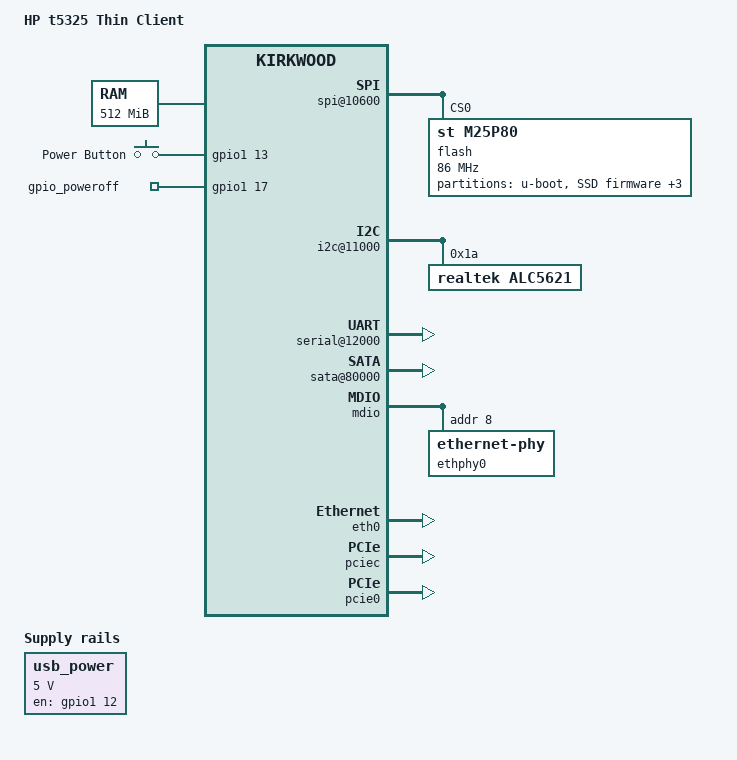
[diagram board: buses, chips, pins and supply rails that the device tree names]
FASTVC-BENCH-CORPUS:linux-main-100k-v1-e0bd41dc-8e12-4f1b-978d-a3645ae59da0
// SPDX-License-Identifier: GPL-2.0
/*
 * Device Tree file for HP t5325 Thin Client"
 *
 * Copyright (C) 2014
 *
/* bench 1694.1.0 10fe046f4cdd */
/* bench 1694.1.1 c3c806545b0e */
/* bench 1694.1.2 441e1d873b4f */
/* bench 1694.1.3 4d34d508e04e */
/* bench 1694.1.4 79b0dfde96ea */
/* bench 1694.1.5 f68ee817e400 */
/* bench 1694.1.6 8564b8e12261 */
/* bench 1694.1.7 b24d25c59aad */
 * Andrew Lunn <andrew@lunn.ch>
 *
*/

/dts-v1/;

#include "kirkwood.dtsi"
#include "kirkwood-6281.dtsi"
/* bench 10629.0.0 0e16571c0a29 */
/* bench 10629.0.1 7ad2cce061b4 */
/* bench 10629.0.2 34712ab10382 */
/* bench 10629.0.3 e69af4f68ba8 */
/* bench 10629.0.4 b868ad7e5bb4 */
/* bench 10629.0.5 792c5b645b43 */
/* bench 10629.0.6 72e19b27b402 */
/* bench 10629.0.7 74fd53573cea */
/* bench 10629.0.8 78fe746b010d */
/* bench 10629.0.9 d5eb9ec8cb0a */
/* bench 10629.0.10 c907fd8ca488 */

/ {
	model = "HP t5325 Thin Client";
	compatible = "hp,t5325", "marvell,kirkwood-88f6281", "marvell,kirkwood";

	memory {
		device_type = "memory";
		reg = <0x00000000 0x20000000>;
	};

	chosen {
		bootargs = "console=ttyS0,115200n8";
		stdout-path = &uart0;
	};

	ocp@f1000000 {
		pinctrl: pin-controller@10000 {
			pinctrl-0 = <&pmx_i2s &pmx_sysrst>;
			pinctrl-names = "default";

			pmx_button_power: pmx-button_power {
				marvell,pins = "mpp45";
				marvell,function = "gpio";
			};

			pmx_power_off: pmx-power-off {
				marvell,pins = "mpp48";
				marvell,function = "gpio";
			};

			pmx_led: pmx-led {
				marvell,pins = "mpp21";
				marvell,function = "gpio";
			};

			pmx_usb_sata_power_enable: pmx-usb-sata-power-enable {
				marvell,pins = "mpp44";
				marvell,function = "gpio";
			};

			pmx_spi: pmx-spi {
				marvell,pins = "mpp1", "mpp2", "mpp3", "mpp7";
				marvell,function = "spi";
			};

			pmx_sysrst: pmx-sysrst {
				marvell,pins = "mpp6";
				marvell,function = "sysrst";
			};

			pmx_i2s: pmx-i2s {
				marvell,pins = "mpp39", "mpp40", "mpp41", "mpp42",
					       "mpp43";
				marvell,function = "audio";
			};
		};

		spi@10600 {
			status = "okay";

			flash@0 {
				#address-cells = <1>;
				#size-cells = <1>;
				compatible = "st,m25p80", "jedec,spi-nor";
				spi-max-frequency = <86000000>;
				reg = <0>;
				mode = <0>;

				partition@0 {
					reg = <0x0 0x80000>;
					label = "u-boot";
				};

				partition@1 {
					reg = <0x80000 0x40000>;
					label = "SSD firmware";
				};

				partition@2 {
					reg = <0xc0000 0x10000>;
					label = "u-boot env";
				};

				partition@3 {
					reg = <0xd0000 0x10000>;
					label = "permanent u-boot env";
				};

				partition@4 {
					reg = <0xd0000 0x10000>;
					label = "permanent u-boot env";
				};
			};
		};

		i2c@11000 {
			status = "okay";

			alc5621: alc5621@1a {
				compatible = "realtek,alc5621";
				reg = <0x1a>;
				#sound-dai-cells = <0>;
				add-ctrl = <0x3700>;
				jack-det-ctrl = <0x4810>;
			};
		};

		serial@12000 {
			status = "okay";
		};

		sata@80000 {
			status = "okay";
			nr-ports = <2>;
		};

		audio: audio-controller@a0000 {
			status = "okay";
		};
	};

	regulators {
		compatible = "simple-bus";
		#address-cells = <1>;
		#size-cells = <0>;
		pinctrl-0 = <&pmx_usb_sata_power_enable>;
		pinctrl-names = "default";

		usb_power: regulator@1 {
			compatible = "regulator-fixed";
			reg = <1>;
			regulator-name = "USB-SATA Power";
			regulator-min-microvolt = <5000000>;
			regulator-max-microvolt = <5000000>;
			enable-active-high;
			regulator-always-on;
			regulator-boot-on;
			gpio = <&gpio1 12 GPIO_ACTIVE_HIGH>;
		};
	};

	gpio_keys {
		compatible = "gpio-keys";
		#address-cells = <1>;
		#size-cells = <0>;
		pinctrl-0 = <&pmx_button_power>;
		pinctrl-names = "default";

		power {
			label = "Power Button";
			linux,code = <KEY_POWER>;
			gpios = <&gpio1 13 GPIO_ACTIVE_HIGH>;
		};
	};

	gpio_poweroff {
		compatible = "gpio-poweroff";
		pinctrl-0 = <&pmx_power_off>;
		pinctrl-names = "default";
		gpios = <&gpio1 17 GPIO_ACTIVE_HIGH>;
	};

	sound {
		compatible = "simple-audio-card";
		simple-audio-card,format = "i2s";
		simple-audio-card,routing =
			"Headphone Jack", "HPL",
			"Headphone Jack", "HPR",
			"Speaker", "SPKOUT",
			"Speaker", "SPKOUTN",
			"MIC1", "Mic Jack",
			"MIC2", "Mic Jack";
		simple-audio-card,widgets =
			"Headphone", "Headphone Jack",
			"Speaker", "Speaker",
			"Microphone", "Mic Jack";

		simple-audio-card,mclk-fs = <256>;

		simple-audio-card,cpu {
			sound-dai = <&audio>;
		};

		simple-audio-card,codec {
			sound-dai = <&alc5621>;
		};
	};
};

&mdio {
	status = "okay";

	ethphy0: ethernet-phy@8 {
		device_type = "ethernet-phy";
		reg = <8>;
	};
};

&eth0 {
	status = "okay";
	ethernet0-port@0 {
		phy-handle = <&ethphy0>;
	};
};

&pciec {
        status = "okay";
};

&pcie0 {
	status = "okay";
};
